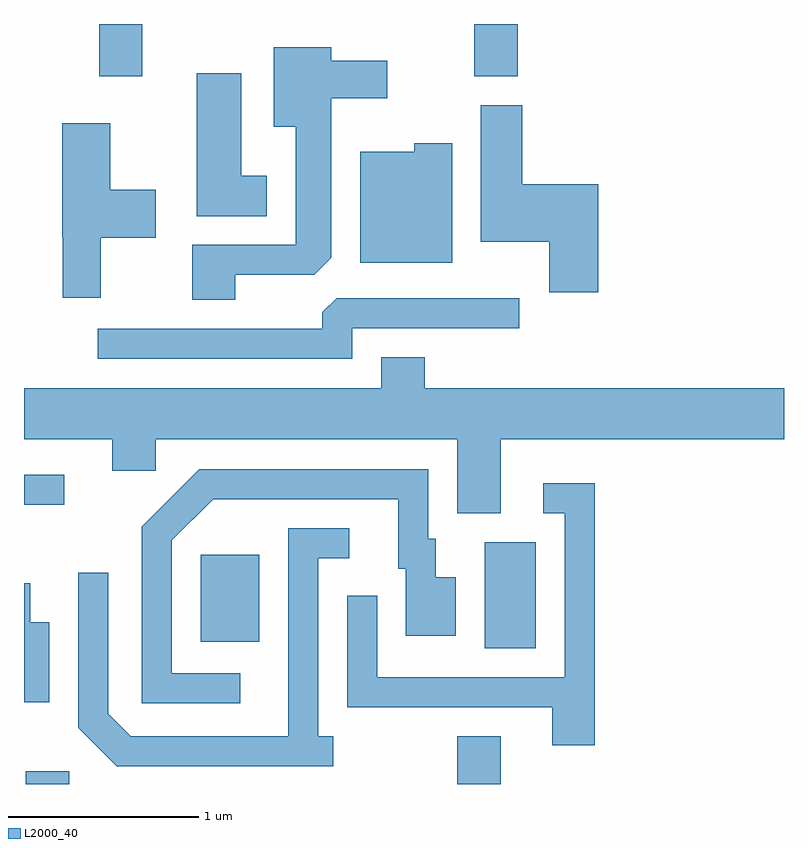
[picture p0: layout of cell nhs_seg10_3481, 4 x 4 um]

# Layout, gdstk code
import gdstk
lib = gdstk.Library(unit=1e-6, precision=1e-09)
def R(c, l, rs):  # rectangles x0, y0, x1, y1
    for r in rs: c.add(gdstk.rectangle(r[:2], r[2:], *l))
def P(c, l, *ps):  # polygons
    for p in ps: c.add(gdstk.Polygon(p, *l))
L2000_40 = (2000, 40)

nhs_seg10_3481 = lib.new_cell('nhs_seg10_3481')
R(nhs_seg10_3481, L2000_40, [(287.621,2136.522,287.849,2136.589), (289.891,2136.522,290.119,2136.774), (290.036,2137.236,290.304,2137.794), (288.541,2137.271,288.849,2137.729), (287.611,2137.991,287.823,2138.149), (288.006,2140.246,288.234,2140.522), (289.981,2140.246,290.209,2140.522)])
P(nhs_seg10_3481, L2000_40, [(288.724,2139.201),(289.139,2139.201),(289.229,2139.292),(289.229,2140.131),(289.524,2140.131),(289.524,2140.329),(289.229,2140.329),(289.229,2140.399),(288.926,2140.399),(288.926,2139.981),(289.041,2139.981),(289.041,2139.359),(288.496,2139.359),(288.496,2139.071),(288.724,2139.071)],
  [(288.889,2139.724),(288.754,2139.724),(288.754,2140.264),(288.521,2140.264),(288.521,2139.511),(288.889,2139.511)],
  [(290.634,2139.679),(290.234,2139.679),(290.234,2140.094),(290.016,2140.094),(290.016,2139.376),(290.376,2139.376),(290.376,2139.111),(290.634,2139.111)],
  [(288.014,2139.396),(288.304,2139.396),(288.304,2139.649),(288.064,2139.649),(288.064,2139.999),(287.811,2139.999),(287.811,2139.4),(287.816,2139.4),(287.816,2139.081),(288.014,2139.081)],
  [(289.864,2139.894),(289.666,2139.894),(289.666,2139.849),(289.381,2139.849),(289.381,2139.266),(289.864,2139.266)],
  [(289.339,2138.921),(290.218,2138.921),(290.218,2139.079),(289.257,2139.079),(289.181,2139.004),(289.181,2138.919),(287.998,2138.919),(287.998,2138.761),(289.339,2138.761)],
  [(290.119,2138.336),(291.611,2138.336),(291.611,2138.604),(289.719,2138.604),(289.719,2138.769),(289.491,2138.769),(289.491,2138.604),(287.611,2138.604),(287.611,2138.336),(288.076,2138.336),(288.076,2138.171),(288.304,2138.171),(288.304,2138.336),(289.891,2138.336),(289.891,2137.946),(290.119,2137.946)],
  [(288.748,2137.104),(288.389,2137.104),(288.389,2137.804),(288.607,2138.021),(289.581,2138.021),(289.581,2137.656),(289.621,2137.656),(289.621,2137.301),(289.884,2137.301),(289.884,2137.609),(289.779,2137.609),(289.779,2137.814),(289.739,2137.814),(289.739,2138.179),(288.534,2138.179),(288.231,2137.877),(288.231,2136.946),(288.748,2136.946)],
  [(290.614,2138.104),(290.343,2138.104),(290.343,2137.946),(290.456,2137.946),(290.456,2137.084),(289.469,2137.084),(289.469,2137.513),(289.311,2137.513),(289.311,2136.926),(290.391,2136.926),(290.391,2136.726),(290.614,2136.726)],
  [(289.238,2136.774),(289.159,2136.774),(289.159,2137.711),(289.323,2137.711),(289.323,2137.869),(289.001,2137.869),(289.001,2136.774),(288.172,2136.774),(288.054,2136.892),(288.054,2137.633),(287.896,2137.633),(287.896,2136.819),(288.099,2136.616),(289.238,2136.616)],
  [(287.744,2137.374),(287.644,2137.374),(287.644,2137.579),(287.611,2137.579),(287.611,2136.951),(287.744,2136.951)])

lib.write_gds('nhs_seg10_3481.gds')
